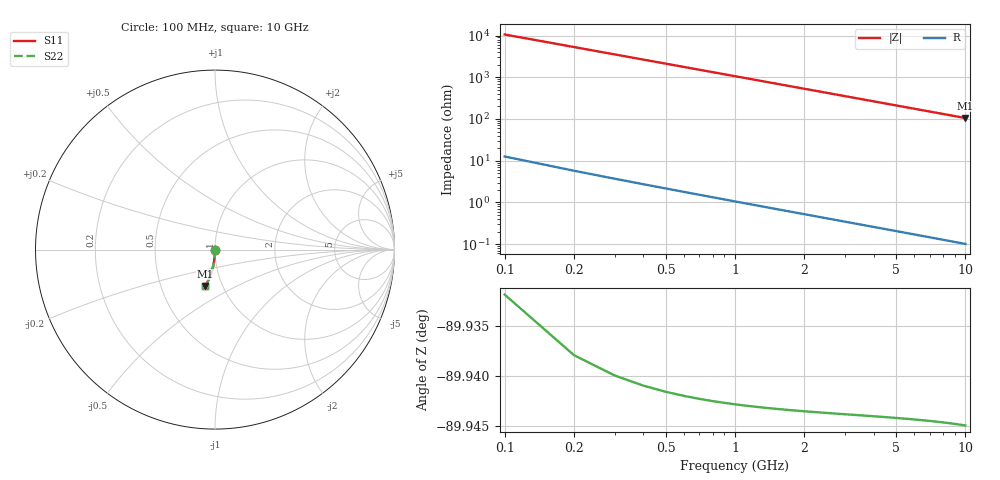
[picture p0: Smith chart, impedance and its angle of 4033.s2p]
# Hz S RI R 50.00
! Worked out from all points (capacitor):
!   100 points, 100 MHz to 10 GHz, reference 50 ohm
!   read as one part in shunt: C = 150 fF near 100 MHz
!   lowest |Z| = 105 ohm at 10 GHz (marker M1)
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1e8  8.79e-05 -0.00213  0.9999 -0.00258  0.9999 -0.00258  8.79e-05 -0.00213
2e8  6.97e-05 -0.00427  0.9999 -0.00516  0.9999 -0.00516  6.97e-05 -0.00427
3e8  4.04e-05 -0.0064  0.9998 -0.00774  0.9998 -0.00774  4.04e-05 -0.0064
4e8  -9.13e-08 -0.00854  0.9998 -0.0103  0.9998 -0.0103  -9.13e-08 -0.00854
5e8  -5.16e-05 -0.0107  0.9997 -0.0129  0.9997 -0.0129  -5.16e-05 -0.0107
6e8  -0.000114 -0.0128  0.9997 -0.0155  0.9997 -0.0155  -0.000114 -0.0128
7e8  -0.000188 -0.0149  0.9996 -0.0181  0.9996 -0.0181  -0.000188 -0.0149
8e8  -0.000272 -0.0171  0.9995 -0.0206  0.9995 -0.0206  -0.000272 -0.0171
9e8  -0.000368 -0.0192  0.9994 -0.0232  0.9994 -0.0232  -0.000368 -0.0192
1.1e9  -0.000592 -0.0235  0.9992 -0.0284  0.9992 -0.0284  -0.000592 -0.0235
1.4e9  -0.00101 -0.0299  0.9988 -0.0361  0.9988 -0.0361  -0.00101 -0.0299
1.8e9  -0.00172 -0.0384  0.998 -0.0464  0.998 -0.0464  -0.00172 -0.0384
2.1e9  -0.00238 -0.0447  0.9974 -0.0541  0.9974 -0.0541  -0.00238 -0.0447
2.5e9  -0.0034 -0.0532  0.9963 -0.0644  0.9963 -0.0644  -0.0034 -0.0532
2.9e9  -0.00459 -0.0617  0.9951 -0.0746  0.9951 -0.0746  -0.00459 -0.0617
3.4e9  -0.00633 -0.0722  0.9933 -0.0874  0.9933 -0.0874  -0.00633 -0.0722
4.2e9  -0.00968 -0.089  0.9899 -0.1077  0.9899 -0.1077  -0.00968 -0.089
5.1e9  -0.0143 -0.1076  0.9853 -0.1304  0.9853 -0.1304  -0.0143 -0.1076
5.9e9  -0.019 -0.124  0.9804 -0.1504  0.9804 -0.1504  -0.019 -0.124
6.7e9  -0.0245 -0.14  0.9749 -0.1701  0.9749 -0.1701  -0.0245 -0.14
8.4e9  -0.0381 -0.1733  0.9609 -0.211  0.9609 -0.211  -0.0381 -0.1733
1e10  -0.0534 -0.2031  0.9453 -0.2481  0.9453 -0.2481  -0.0534 -0.2031
